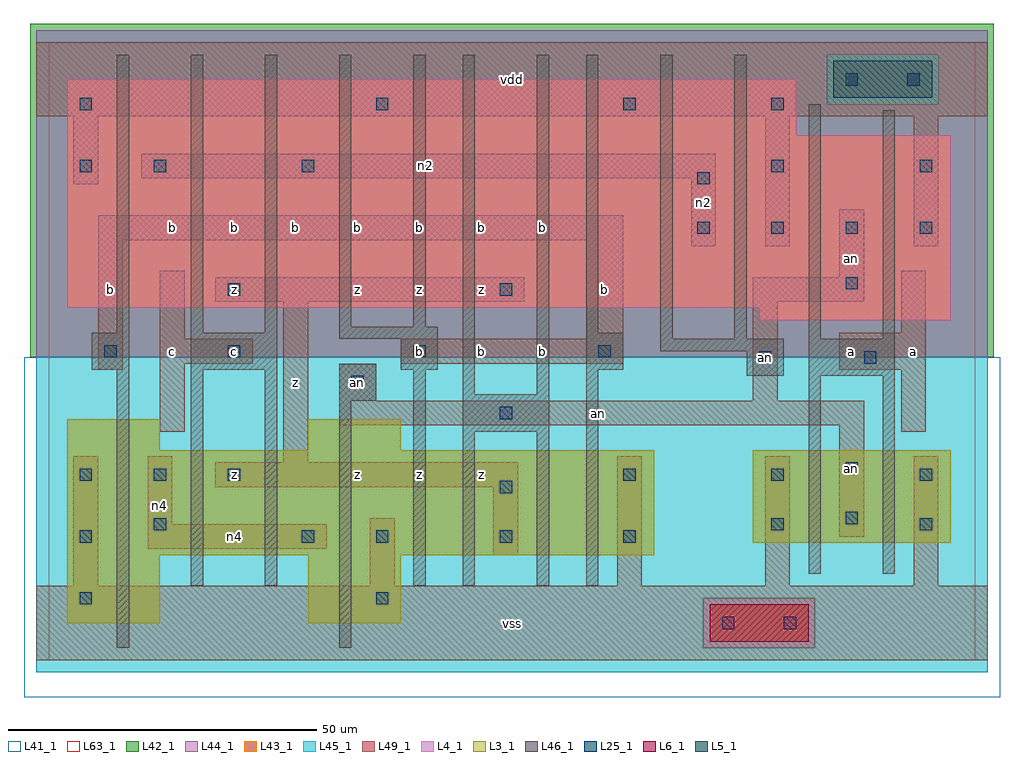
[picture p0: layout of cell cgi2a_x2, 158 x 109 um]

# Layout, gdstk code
import gdstk
lib = gdstk.Library(unit=1e-6, precision=1e-09)
def R(c, l, rs):  # rectangles x0, y0, x1, y1
    for r in rs: c.add(gdstk.rectangle(r[:2], r[2:], *l))
def A(c, l, x, y, w, h, nx, ny, dx, dy):  # array of equal rectangles
    R(c, l, [(x+i*dx, y+j*dy, x+i*dx+w, y+j*dy+h) for i in range(nx) for j in range(ny)])
L3_1 = (3, 1)
L4_1 = (4, 1)
L5_1 = (5, 1)
L6_1 = (6, 1)
L25_1 = (25, 1)
L41_1 = (41, 1)
L42_1 = (42, 1)
L43_1 = (43, 1)
L44_1 = (44, 1)
L45_1 = (45, 1)
L46_1 = (46, 1)
L49_1 = (49, 1)
L63_1 = (63, 1)

cgi2a_x2 = lib.new_cell('cgi2a_x2')
R(cgi2a_x2, L3_1, [(3,6,18,17), (42,6,57,17), (3,17,98,34), (114,19,146,34), (3,34,18,39), (42,34,57,39)])
R(cgi2a_x2, L4_1, [(115,55,146,57), (3,57,146,85), (3,85,121,94)])
R(cgi2a_x2, L5_1, [(127,91,143,97)])
R(cgi2a_x2, L6_1, [(107,3,123,9)])
A(cgi2a_x2, L25_1, 53, 19, 2, 2, 3, 1, 20, 0)
A(cgi2a_x2, L25_1, 5, 29, 2, 2, 3, 1, 12, 0)
A(cgi2a_x2, L25_1, 93, 29, 2, 2, 3, 1, 24, 0)
A(cgi2a_x2, L25_1, 29, 49, 2, 2, 3, 1, 30, 0)
A(cgi2a_x2, L25_1, 105, 69, 2, 2, 4, 1, 12, 0)
R(cgi2a_x2, L25_1, [(109,5,111,7), (119,5,121,7), (5,9,7,11), (53,9,55,11), (5,19,7,21), (41,19,43,21), (17,21,19,23), (117,21,119,23), (141,21,143,23), (129,22,131,24), (73,27,75,29), (129,30,131,32), (73,39,75,41), (49,44,51,46), (115,48,117,50), (132,48,134,50), (9,49,11,51), (29,59,31,61), (73,59,75,61), (129,60,131,62), (105,77,107,79), (5,79,7,81), (17,79,19,81), (41,79,43,81), (117,79,119,81), (141,79,143,81), (5,89,7,91), (53,89,55,91), (93,89,95,91), (117,89,119,91), (129,93,131,95), (139,93,141,95)])
R(cgi2a_x2, L41_1, [(-4,-6,154,49), (-3,-3,153,49)])
R(cgi2a_x2, L42_1, [(-3,49,153,103)])
R(cgi2a_x2, L43_1, [(107,3,123,9), (3,6,18,17), (42,6,57,17), (3,17,98,34), (114,19,146,34), (3,34,18,39), (42,34,57,39), (115,55,146,57), (3,57,146,85), (3,85,121,94), (127,91,143,97)])
R(cgi2a_x2, L44_1, [(106,2,124,10), (-2,49,152,90), (-2,90,126,98), (144,90,152,98), (-2,98,152,102)])
R(cgi2a_x2, L45_1, [(-2,-2,152,2), (-2,2,106,10), (124,2,152,10), (-2,10,152,49), (126,90,144,98)])
A(cgi2a_x2, L46_1, 11, 53, 2, 45, 3, 1, 12, 0)
R(cgi2a_x2, L46_1, [(11,2,13,47), (47,2,49,42), (23,12,25,47), (35,12,37,47), (59,12,61,47), (67,12,69,37), (79,12,81,37), (87,12,89,47), (123,14,125,46), (135,14,137,46), (67,37,81,43), (47,42,53,48), (67,43,69,98), (79,43,81,98), (113,46,119,50), (123,46,137,52), (7,47,13,53), (23,47,37,53), (57,47,63,52), (87,47,93,53), (99,50,119,52), (47,52,63,54), (99,52,101,98), (111,52,113,98), (123,52,125,90), (135,52,137,89), (87,53,89,98), (47,54,49,98), (59,54,61,98)])
A(cgi2a_x2, L49_1, 92, 12, 4, 21, 3, 1, 24, 0)
R(cgi2a_x2, L49_1, [(-2,0,152,12), (4,12,8,33), (52,12,56,23), (72,17,76,28), (16,18,45,22), (128,20,132,38), (16,22,20,33), (27,28,76,32), (38,32,42,58), (18,37,22,48), (138,37,142,47), (47,38,132,42), (47,42,53,48), (114,42,118,58), (8,47,12,68), (128,47,142,53), (18,48,33,52), (57,48,93,52), (18,52,22,63), (87,52,93,68), (138,53,142,63), (27,58,77,62), (114,58,132,62), (128,62,132,73), (104,67,108,78), (116,67,120,88), (140,67,144,88), (8,68,93,72), (4,77,8,88), (15,78,108,82), (-2,88,152,100)])
R(cgi2a_x2, L63_1, [(0,0,150,100)])
cgi2a_x2.add(gdstk.Label('an', (50,45), layer=49, texttype=1))
cgi2a_x2.add(gdstk.Label('an', (116,49), layer=49, texttype=1))
cgi2a_x2.add(gdstk.Label('n4', (18,25), layer=49, texttype=1))
cgi2a_x2.add(gdstk.Label('c', (20,50), layer=49, texttype=1))
cgi2a_x2.add(gdstk.Label('c', (20,50), layer=49, texttype=1))
cgi2a_x2.add(gdstk.Label('b', (10,60), layer=49, texttype=1))
cgi2a_x2.add(gdstk.Label('b', (10,60), layer=49, texttype=1))
cgi2a_x2.add(gdstk.Label('b', (20,70), layer=49, texttype=1))
cgi2a_x2.add(gdstk.Label('b', (20,70), layer=49, texttype=1))
cgi2a_x2.add(gdstk.Label('n4', (30,20), layer=49, texttype=1))
cgi2a_x2.add(gdstk.Label('z', (30,30), layer=49, texttype=1))
cgi2a_x2.add(gdstk.Label('z', (30,30), layer=49, texttype=1))
cgi2a_x2.add(gdstk.Label('z', (50,30), layer=49, texttype=1))
cgi2a_x2.add(gdstk.Label('z', (50,30), layer=49, texttype=1))
cgi2a_x2.add(gdstk.Label('an', (50,43), layer=49, texttype=1))
cgi2a_x2.add(gdstk.Label('c', (30,50), layer=49, texttype=1))
cgi2a_x2.add(gdstk.Label('c', (30,50), layer=49, texttype=1))
cgi2a_x2.add(gdstk.Label('z', (40,45), layer=49, texttype=1))
cgi2a_x2.add(gdstk.Label('z', (40,45), layer=49, texttype=1))
cgi2a_x2.add(gdstk.Label('z', (50,60), layer=49, texttype=1))
cgi2a_x2.add(gdstk.Label('z', (50,60), layer=49, texttype=1))
cgi2a_x2.add(gdstk.Label('z', (30,60), layer=49, texttype=1))
cgi2a_x2.add(gdstk.Label('z', (30,60), layer=49, texttype=1))
cgi2a_x2.add(gdstk.Label('b', (30,70), layer=49, texttype=1))
cgi2a_x2.add(gdstk.Label('b', (30,70), layer=49, texttype=1))
cgi2a_x2.add(gdstk.Label('b', (40,70), layer=49, texttype=1))
cgi2a_x2.add(gdstk.Label('b', (50,70), layer=49, texttype=1))
cgi2a_x2.add(gdstk.Label('b', (50,70), layer=49, texttype=1))
cgi2a_x2.add(gdstk.Label('b', (40,70), layer=49, texttype=1))
cgi2a_x2.add(gdstk.Label('vss', (75,6), layer=49, texttype=1))
cgi2a_x2.add(gdstk.Label('vss', (75,6), layer=49, texttype=1))
cgi2a_x2.add(gdstk.Label('z', (60,30), layer=49, texttype=1))
cgi2a_x2.add(gdstk.Label('z', (60,30), layer=49, texttype=1))
cgi2a_x2.add(gdstk.Label('z', (70,30), layer=49, texttype=1))
cgi2a_x2.add(gdstk.Label('z', (70,30), layer=49, texttype=1))
cgi2a_x2.add(gdstk.Label('b', (60,50), layer=49, texttype=1))
cgi2a_x2.add(gdstk.Label('b', (60,50), layer=49, texttype=1))
cgi2a_x2.add(gdstk.Label('b', (80,50), layer=49, texttype=1))
cgi2a_x2.add(gdstk.Label('b', (70,50), layer=49, texttype=1))
cgi2a_x2.add(gdstk.Label('b', (80,50), layer=49, texttype=1))
cgi2a_x2.add(gdstk.Label('b', (70,50), layer=49, texttype=1))
cgi2a_x2.add(gdstk.Label('z', (70,60), layer=49, texttype=1))
cgi2a_x2.add(gdstk.Label('z', (70,60), layer=49, texttype=1))
cgi2a_x2.add(gdstk.Label('z', (60,60), layer=49, texttype=1))
cgi2a_x2.add(gdstk.Label('z', (60,60), layer=49, texttype=1))
cgi2a_x2.add(gdstk.Label('b', (60,70), layer=49, texttype=1))
cgi2a_x2.add(gdstk.Label('b', (60,70), layer=49, texttype=1))
cgi2a_x2.add(gdstk.Label('b', (80,70), layer=49, texttype=1))
cgi2a_x2.add(gdstk.Label('b', (70,70), layer=49, texttype=1))
cgi2a_x2.add(gdstk.Label('b', (80,70), layer=49, texttype=1))
cgi2a_x2.add(gdstk.Label('b', (70,70), layer=49, texttype=1))
cgi2a_x2.add(gdstk.Label('vdd', (75,94), layer=49, texttype=1))
cgi2a_x2.add(gdstk.Label('vdd', (75,94), layer=49, texttype=1))
cgi2a_x2.add(gdstk.Label('b', (90,60), layer=49, texttype=1))
cgi2a_x2.add(gdstk.Label('b', (90,60), layer=49, texttype=1))
cgi2a_x2.add(gdstk.Label('an', (116,50), layer=49, texttype=1))
cgi2a_x2.add(gdstk.Label('n2', (106,74), layer=49, texttype=1))
cgi2a_x2.add(gdstk.Label('n2', (61,80), layer=49, texttype=1))
cgi2a_x2.add(gdstk.Label('an', (89,40), layer=49, texttype=1))
cgi2a_x2.add(gdstk.Label('an', (130,31), layer=49, texttype=1))
cgi2a_x2.add(gdstk.Label('a', (130,50), layer=49, texttype=1))
cgi2a_x2.add(gdstk.Label('a', (140,50), layer=49, texttype=1))
cgi2a_x2.add(gdstk.Label('a', (130,50), layer=49, texttype=1))
cgi2a_x2.add(gdstk.Label('a', (140,50), layer=49, texttype=1))
cgi2a_x2.add(gdstk.Label('an', (130,65), layer=49, texttype=1))

lib.write_gds('cgi2a_x2.gds')
